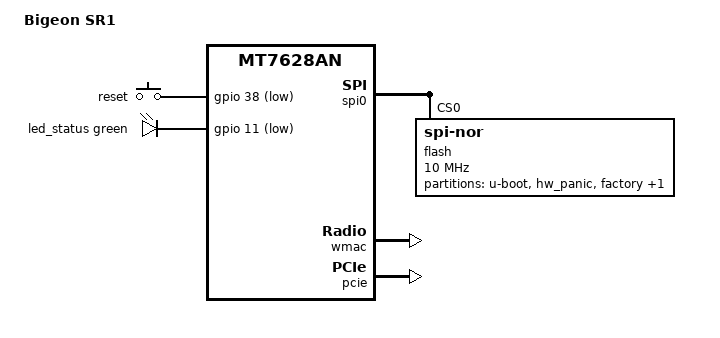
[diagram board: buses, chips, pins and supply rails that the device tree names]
// SPDX-License-Identifier: GPL-2.0-or-later OR MIT

#include "mt7628an.dtsi"
#include <dt-bindings/gpio/gpio.h>
#include <dt-bindings/input/input.h>
#include <dt-bindings/leds/common.h>

/ {
	compatible = "bigeon,sr1", "mediatek,mt7628an-soc";
	model = "Bigeon SR1";

	aliases {
		label-mac-device = &ethernet;
		led-boot = &led_status;
		led-failsafe = &led_status;
		led-running = &led_status;
		led-upgrade = &led_status;
	};

	chosen {
		bootargs = "console=ttyS0,115200";
	};

	keys {
		compatible = "gpio-keys";

		reset {
			label = "reset";
			gpios = <&gpio 38 GPIO_ACTIVE_LOW>;
			linux,code = <KEY_RESTART>;
		};
	};

	leds {
		compatible = "gpio-leds";

		led_status: status {
			function = LED_FUNCTION_STATUS;
			color = <LED_COLOR_ID_GREEN>;
			gpios = <&gpio 11 GPIO_ACTIVE_LOW>;
		};
	};
};

&state_default {
	gpio {
		groups = "i2c", "refclk", "wdt", "wled_an";
		function = "gpio";
	};
};

&spi0 {
	status = "okay";

	flash@0 {
		compatible = "jedec,spi-nor";
		reg = <0>;
		spi-max-frequency = <10000000>;

		partitions {
			compatible = "fixed-partitions";
			#address-cells = <1>;
			#size-cells = <1>;

			partition@0 {
				label = "u-boot";
				reg = <0x0 0x30000>;
				read-only;
			};

			partition@30000 {
				label = "hw_panic";
				reg = <0x30000 0x10000>;
				read-only;
			};

			partition@40000 {
				label = "factory";
				reg = <0x40000 0x10000>;
				read-only;

				nvmem-layout {
					compatible = "fixed-layout";
					#address-cells = <1>;
					#size-cells = <1>;

					eeprom_factory_0: eeprom@0 {
						reg = <0x0 0x400>;
					};

					macaddr_factory_28: macaddr@28 {
						reg = <0x28 0x6>;
					};

					eeprom_factory_8000: eeprom@8000 {
						reg = <0x8000 0x200>;
					};
				};
			};

			partition@50000 {
				compatible = "denx,uimage";
				label = "firmware";
				reg = <0x50000 0xfb0000>;
			};
		};
	};
};

&ethernet {
	nvmem-cells = <&macaddr_factory_28>;
	nvmem-cell-names = "mac-address";
};

&esw {
	mediatek,portmap = <0x3e>;
};

&wmac {
	status = "okay";
	nvmem-cells = <&eeprom_factory_0>;
	nvmem-cell-names = "eeprom";
};

&ehci {
	status = "disabled";
};

&ohci {
	status = "disabled";
};

&pcie {
	status = "okay";
};

&pcie0 {
	wifi@0,0 {
		reg = <0x0000 0 0 0 0>;
		ieee80211-freq-limit = <5000000 6000000>;
		nvmem-cells = <&eeprom_factory_8000>;
		nvmem-cell-names = "eeprom";
	};
};
